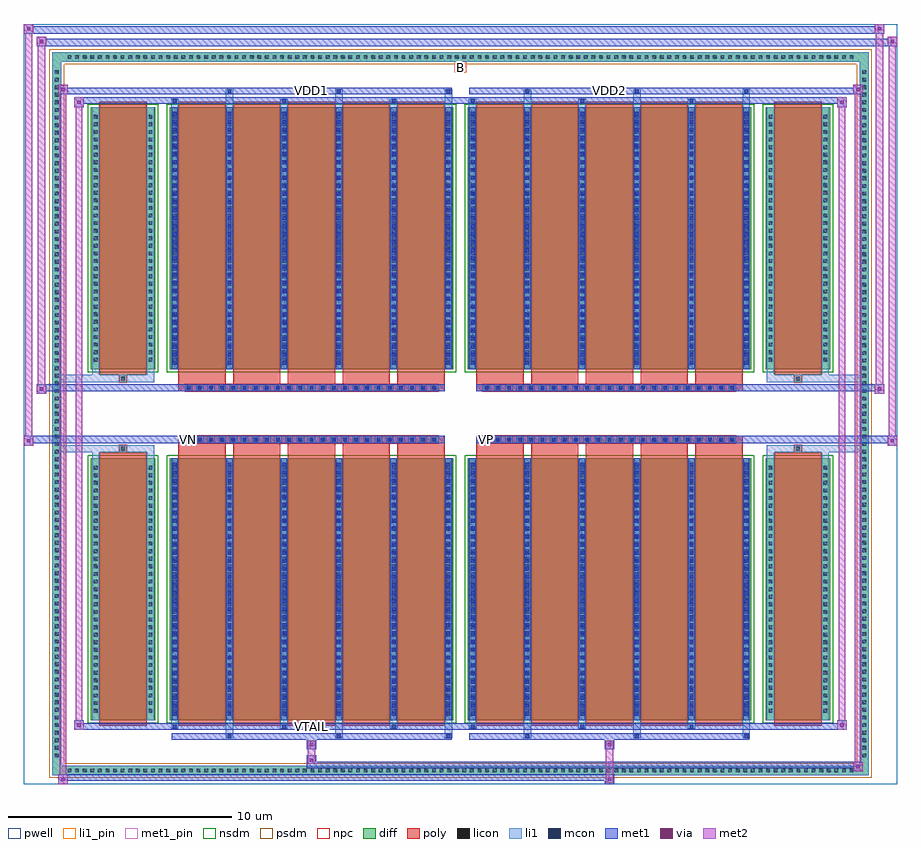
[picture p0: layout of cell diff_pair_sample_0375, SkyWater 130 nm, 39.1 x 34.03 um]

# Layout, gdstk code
import gdstk
lib = gdstk.Library(unit=1e-6, precision=5e-09)
def R(c, l, rs):  # rectangles x0, y0, x1, y1
    for r in rs: c.add(gdstk.rectangle(r[:2], r[2:], *l))
def A(c, l, x, y, w, h, nx, ny, dx, dy):  # array of equal rectangles
    R(c, l, [(x+i*dx, y+j*dy, x+i*dx+w, y+j*dy+h) for i in range(nx) for j in range(ny)])
def P(c, l, *ps):  # polygons
    for p in ps: c.add(gdstk.Polygon(p, *l))
pwell = (64, 44)
diff = (65, 20)
poly = (66, 20)
licon = (66, 44)
li1_pin = (67, 16)
li1 = (67, 20)
mcon = (67, 44)
met1_pin = (68, 16)
met1 = (68, 20)
via = (68, 44)
met2 = (69, 20)
nsdm = (93, 44)
psdm = (94, 20)
npc = (95, 20)

diff_pair_sample_0375 = lib.new_cell('diff_pair_sample_0375')
R(diff_pair_sample_0375, pwell, [(-19.55,-16.58,19.55,17.45), (-16.87,-14.77,-0.01,-0.795), (0.01,-14.77,16.87,-0.795), (-16.87,0.795,-0.01,14.77), (0.01,0.795,16.87,14.77)])
A(diff_pair_sample_0375, diff, -17.715, -16.18, 0.41, 0.41, 104, 2, 0.34, 31.95)
A(diff_pair_sample_0375, diff, -18.28, -15.505, 0.41, 0.41, 1, 91, 0, 0.34)
A(diff_pair_sample_0375, diff, 17.87, -15.505, 0.41, 0.41, 1, 91, 0, 0.34)
R(diff_pair_sample_0375, diff, [(-17.715,-16.18,17.715,-15.77), (-18.28,-15.505,-17.87,15.505), (17.87,-15.505,18.28,15.505), (-16.56,-13.725,-13.66,-1.985), (-13.02,-13.725,-0.32,-1.985), (0.32,-13.725,13.02,-1.985), (13.66,-13.725,16.56,-1.985), (-16.56,1.985,-13.66,13.725), (-13.02,1.985,-0.32,13.725), (0.32,1.985,13.02,13.725), (13.66,1.985,16.56,13.725), (-17.715,15.77,17.715,16.18)])
P(diff_pair_sample_0375, diff, [(18.28,16.18),(-18.28,16.18),(-18.28,-15.77),(-17.87,-15.77),(-17.87,15.77),(17.87,15.77),(17.87,-15.77),(-17.87,-15.77),(-18.28,-15.77),(-18.28,-16.18),(18.28,-16.18)])
A(diff_pair_sample_0375, poly, -12.63, -13.975, 2.12, 12.24, 5, 2, 2.45, 15.71)
A(diff_pair_sample_0375, poly, 0.71, -13.975, 2.12, 12.24, 5, 2, 2.45, 15.71)
A(diff_pair_sample_0375, poly, -12.63, -1.735, 2.12, 0.41, 5, 2, 2.45, 3.06)
A(diff_pair_sample_0375, poly, 0.71, -1.735, 2.12, 0.41, 5, 2, 2.45, 3.06)
A(diff_pair_sample_0375, poly, -12.335, -1.325, 0.33, 0.33, 23, 2, 0.5, 2.32)
A(diff_pair_sample_0375, poly, 1.005, -1.325, 0.33, 0.33, 23, 2, 0.5, 2.32)
R(diff_pair_sample_0375, poly, [(-16.17,-13.975,-14.05,-1.735), (14.05,-13.975,16.17,-1.735), (-15.275,-1.735,-14.945,-1.405), (-15.275,-1.735,-14.945,-1.405), (14.945,-1.735,15.275,-1.405), (14.945,-1.735,15.275,-1.405), (-12.63,-1.325,-0.71,-0.995), (0.71,-1.325,12.63,-0.995), (-12.63,0.995,-0.71,1.325), (0.71,0.995,12.63,1.325), (-15.275,1.405,-14.945,1.735), (-15.275,1.405,-14.945,1.735), (14.945,1.405,15.275,1.735), (14.945,1.405,15.275,1.735), (-16.17,1.735,-14.05,13.975), (14.05,1.735,16.17,13.975)])
A(diff_pair_sample_0375, licon, -17.595, -16.06, 0.17, 0.17, 104, 2, 0.34, 31.95)
A(diff_pair_sample_0375, licon, -18.16, -15.385, 0.17, 0.17, 1, 91, 0, 0.34)
A(diff_pair_sample_0375, licon, 17.99, -15.385, 0.17, 0.17, 1, 91, 0, 0.34)
A(diff_pair_sample_0375, licon, -16.42, -13.38, 0.17, 0.17, 1, 33, 0, 0.34)
A(diff_pair_sample_0375, licon, -13.97, -13.38, 0.17, 0.17, 1, 33, 0, 0.34)
A(diff_pair_sample_0375, licon, -12.88, -13.38, 0.17, 0.17, 6, 33, 2.45, 0.34)
A(diff_pair_sample_0375, licon, 0.46, -13.38, 0.17, 0.17, 6, 33, 2.45, 0.34)
A(diff_pair_sample_0375, licon, 13.8, -13.38, 0.17, 0.17, 1, 33, 0, 0.34)
A(diff_pair_sample_0375, licon, 16.25, -13.38, 0.17, 0.17, 1, 33, 0, 0.34)
A(diff_pair_sample_0375, licon, -12.255, -1.245, 0.17, 0.17, 23, 2, 0.5, 2.32)
A(diff_pair_sample_0375, licon, 1.085, -1.245, 0.17, 0.17, 23, 2, 0.5, 2.32)
A(diff_pair_sample_0375, licon, -16.42, 2.33, 0.17, 0.17, 1, 33, 0, 0.34)
A(diff_pair_sample_0375, licon, -13.97, 2.33, 0.17, 0.17, 1, 33, 0, 0.34)
A(diff_pair_sample_0375, licon, -12.88, 2.33, 0.17, 0.17, 6, 33, 2.45, 0.34)
A(diff_pair_sample_0375, licon, 0.46, 2.33, 0.17, 0.17, 6, 33, 2.45, 0.34)
A(diff_pair_sample_0375, licon, 13.8, 2.33, 0.17, 0.17, 1, 33, 0, 0.34)
A(diff_pair_sample_0375, licon, 16.25, 2.33, 0.17, 0.17, 1, 33, 0, 0.34)
R(diff_pair_sample_0375, licon, [(-15.195,-1.655,-15.025,-1.485), (15.025,-1.655,15.195,-1.485), (-15.195,1.485,-15.025,1.655), (15.025,1.485,15.195,1.655)])
R(diff_pair_sample_0375, li1_pin, [(-0.25,15.27,0.25,15.77)])
A(diff_pair_sample_0375, li1, -17.675, -16.14, 0.33, 0.33, 104, 2, 0.34, 31.95)
A(diff_pair_sample_0375, li1, -18.24, -15.465, 0.33, 0.33, 1, 91, 0, 0.34)
A(diff_pair_sample_0375, li1, 17.91, -15.465, 0.33, 0.33, 1, 91, 0, 0.34)
A(diff_pair_sample_0375, li1, -10.51, -14.53, 0.33, 0.805, 3, 2, 4.9, 28.255)
A(diff_pair_sample_0375, li1, -10.43, -14.53, 0.17, 0.17, 3, 2, 4.9, 28.89)
A(diff_pair_sample_0375, li1, 2.83, -14.53, 0.33, 0.805, 3, 2, 4.9, 28.255)
A(diff_pair_sample_0375, li1, 2.91, -14.53, 0.17, 0.17, 3, 2, 4.9, 28.89)
A(diff_pair_sample_0375, li1, -12.96, -14.1, 0.33, 0.375, 3, 2, 4.9, 27.825)
A(diff_pair_sample_0375, li1, -12.88, -14.1, 0.17, 0.17, 3, 2, 4.9, 28.03)
A(diff_pair_sample_0375, li1, 0.38, -14.1, 0.33, 0.375, 3, 2, 4.9, 27.825)
A(diff_pair_sample_0375, li1, 0.46, -14.1, 0.17, 0.17, 3, 2, 4.9, 28.03)
A(diff_pair_sample_0375, li1, -12.96, -13.725, 0.33, 11.74, 6, 2, 2.45, 15.71)
A(diff_pair_sample_0375, li1, 0.38, -13.725, 0.33, 11.74, 6, 2, 2.45, 15.71)
A(diff_pair_sample_0375, li1, -12.88, -13.52, 0.17, 0.17, 6, 32, 2.45, 0.36)
A(diff_pair_sample_0375, li1, -12.88, -13.52, 0.17, 11.33, 6, 2, 2.45, 15.71)
A(diff_pair_sample_0375, li1, 0.46, -13.52, 0.17, 0.17, 6, 32, 2.45, 0.36)
A(diff_pair_sample_0375, li1, 0.46, -13.52, 0.17, 11.33, 6, 2, 2.45, 15.71)
A(diff_pair_sample_0375, li1, -16.5, -13.46, 0.33, 0.33, 1, 33, 0, 0.34)
A(diff_pair_sample_0375, li1, -14.05, -13.46, 0.33, 0.33, 1, 33, 0, 0.34)
A(diff_pair_sample_0375, li1, -12.96, -13.46, 0.33, 0.33, 6, 33, 2.45, 0.34)
A(diff_pair_sample_0375, li1, 0.38, -13.46, 0.33, 0.33, 6, 33, 2.45, 0.34)
A(diff_pair_sample_0375, li1, 13.72, -13.46, 0.33, 0.33, 1, 33, 0, 0.34)
A(diff_pair_sample_0375, li1, 16.17, -13.46, 0.33, 0.33, 1, 33, 0, 0.34)
A(diff_pair_sample_0375, li1, -12.335, -1.325, 0.33, 0.33, 23, 2, 0.5, 2.32)
A(diff_pair_sample_0375, li1, 1.005, -1.325, 0.33, 0.33, 23, 2, 0.5, 2.32)
A(diff_pair_sample_0375, li1, -12.88, 2.19, 0.17, 0.17, 6, 32, 2.45, 0.36)
A(diff_pair_sample_0375, li1, 0.46, 2.19, 0.17, 0.17, 6, 32, 2.45, 0.36)
A(diff_pair_sample_0375, li1, -16.5, 2.25, 0.33, 0.33, 1, 33, 0, 0.34)
A(diff_pair_sample_0375, li1, -14.05, 2.25, 0.33, 0.33, 1, 33, 0, 0.34)
A(diff_pair_sample_0375, li1, -12.96, 2.25, 0.33, 0.33, 6, 33, 2.45, 0.34)
A(diff_pair_sample_0375, li1, 0.38, 2.25, 0.33, 0.33, 6, 33, 2.45, 0.34)
A(diff_pair_sample_0375, li1, 13.72, 2.25, 0.33, 0.33, 1, 33, 0, 0.34)
A(diff_pair_sample_0375, li1, 16.17, 2.25, 0.33, 0.33, 1, 33, 0, 0.34)
R(diff_pair_sample_0375, li1, [(-18.28,-16.18,-17.87,-15.77), (-18.28,-16.18,-17.87,-15.77), (-17.87,-16.18,17.87,-15.77), (17.87,-16.18,18.28,-15.77), (17.87,-16.18,18.28,-15.77), (-18.28,-15.77,-17.87,15.77), (17.87,-15.77,18.28,15.77), (-16.5,-13.725,-16.17,-1.985), (-14.05,-13.725,-13.72,-1.985), (13.72,-13.725,14.05,-1.985), (16.17,-13.725,16.5,-1.985), (-16.5,-1.985,-16.17,-1.405), (-14.05,-1.985,-13.72,-1.405), (13.72,-1.985,14.05,-1.405), (16.17,-1.985,16.5,-1.405), (-18.28,-1.735,-15.275,-1.405), (-16.5,-1.735,-15.275,-1.405), (-15.275,-1.735,-14.945,-1.405), (-14.945,-1.735,-13.72,-1.405), (13.72,-1.735,14.945,-1.405), (14.945,-1.735,15.275,-1.405), (14.945,-1.735,18.28,-1.405), (15.275,-1.735,16.5,-1.405), (-18.28,1.405,-15.275,1.735), (-16.5,1.405,-15.275,1.735), (-16.5,1.405,-16.17,1.985), (-15.275,1.405,-14.945,1.735), (-14.945,1.405,-13.72,1.735), (-14.05,1.405,-13.72,1.985), (13.72,1.405,14.945,1.735), (13.72,1.405,14.05,1.985), (14.945,1.405,15.275,1.735), (14.945,1.405,18.28,1.735), (15.275,1.405,16.5,1.735), (16.17,1.405,16.5,1.985), (-16.5,1.985,-16.17,13.725), (-14.05,1.985,-13.72,13.725), (13.72,1.985,14.05,13.725), (16.17,1.985,16.5,13.725), (-18.28,15.77,-17.87,16.18), (-18.28,15.77,-17.87,16.18), (-17.87,15.77,17.87,16.18), (17.87,15.77,18.28,16.18), (17.87,15.77,18.28,16.18)])
A(diff_pair_sample_0375, mcon, -10.43, -14.53, 0.17, 0.17, 3, 2, 4.9, 28.89)
A(diff_pair_sample_0375, mcon, 2.91, -14.53, 0.17, 0.17, 3, 2, 4.9, 28.89)
A(diff_pair_sample_0375, mcon, -12.88, -14.1, 0.17, 0.17, 3, 2, 4.9, 28.03)
A(diff_pair_sample_0375, mcon, 0.46, -14.1, 0.17, 0.17, 3, 2, 4.9, 28.03)
A(diff_pair_sample_0375, mcon, -12.88, -13.52, 0.17, 0.17, 6, 32, 2.45, 0.36)
A(diff_pair_sample_0375, mcon, 0.46, -13.52, 0.17, 0.17, 6, 32, 2.45, 0.36)
A(diff_pair_sample_0375, mcon, -12.255, -1.245, 0.17, 0.17, 23, 2, 0.5, 2.32)
A(diff_pair_sample_0375, mcon, 1.085, -1.245, 0.17, 0.17, 23, 2, 0.5, 2.32)
A(diff_pair_sample_0375, mcon, -12.88, 2.19, 0.17, 0.17, 6, 32, 2.45, 0.36)
A(diff_pair_sample_0375, mcon, 0.46, 2.19, 0.17, 0.17, 6, 32, 2.45, 0.36)
R(diff_pair_sample_0375, met1_pin, [(-6.805,-14.14,-6.535,-13.87), (-12.305,-1.285,-12.035,-1.015), (1.035,-1.285,1.305,-1.015), (-6.805,14.32,-6.535,14.59), (6.535,14.32,6.805,14.59)])
A(diff_pair_sample_0375, met1, -10.49, -14.59, 0.29, 0.29, 3, 2, 4.9, 28.89)
A(diff_pair_sample_0375, met1, 2.85, -14.59, 0.29, 0.29, 3, 2, 4.9, 28.89)
A(diff_pair_sample_0375, met1, -12.94, -14.16, 0.29, 0.29, 3, 2, 4.9, 28.03)
A(diff_pair_sample_0375, met1, 0.4, -14.16, 0.29, 0.29, 3, 2, 4.9, 28.03)
A(diff_pair_sample_0375, met1, -12.94, -13.725, 0.29, 11.74, 6, 2, 2.45, 15.71)
A(diff_pair_sample_0375, met1, 0.4, -13.725, 0.29, 11.74, 6, 2, 2.45, 15.71)
A(diff_pair_sample_0375, met1, -12.94, -13.58, 0.29, 0.29, 6, 32, 2.45, 0.36)
A(diff_pair_sample_0375, met1, 0.4, -13.58, 0.29, 0.29, 6, 32, 2.45, 0.36)
A(diff_pair_sample_0375, met1, -12.315, -1.305, 0.29, 0.29, 23, 2, 0.5, 2.32)
A(diff_pair_sample_0375, met1, 1.025, -1.305, 0.29, 0.29, 23, 2, 0.5, 2.32)
A(diff_pair_sample_0375, met1, -12.94, 2.13, 0.29, 0.29, 6, 32, 2.45, 0.36)
A(diff_pair_sample_0375, met1, 0.4, 2.13, 0.29, 0.29, 6, 32, 2.45, 0.36)
R(diff_pair_sample_0375, met1, [(-18.01,-16.58,-17.58,-16.15), (6.455,-16.58,6.885,-16.15), (-18.01,-16.44,6.885,-16.15), (17.58,-16.01,18.01,-15.58), (-6.885,-15.87,18.01,-15.58), (-6.885,-15.73,-6.455,-15.3), (-6.885,-15.02,-6.455,-14.59), (6.455,-15.02,6.885,-14.59), (-12.94,-14.59,-0.4,-14.3), (0.4,-14.59,12.94,-14.3), (-17.3,-14.16,-16.87,-13.73), (-17.3,-14.16,-12.94,-13.87), (-12.94,-14.16,-0.4,-13.87), (-0.4,-14.16,0.4,-13.87), (0.4,-14.16,12.94,-13.87), (12.94,-14.16,17.3,-13.87), (16.87,-14.16,17.3,-13.73), (-19.55,-1.425,-19.12,-0.995), (19.12,-1.425,19.55,-0.995), (-19.55,-1.325,-0.71,-0.995), (-12.63,-1.325,-0.71,-0.995), (0.71,-1.325,12.63,-0.995), (0.71,-1.325,19.55,-0.995), (-18.98,0.895,-18.55,1.325), (18.55,0.895,18.98,1.325), (-18.98,0.995,-12.63,1.325), (-12.63,0.995,-0.71,1.325), (0.71,0.995,12.63,1.325), (12.63,0.995,18.98,1.325), (-17.3,13.73,-16.87,14.16), (16.87,13.73,17.3,14.16), (-17.3,13.87,-12.94,14.16), (-12.94,13.87,-0.4,14.16), (-0.4,13.87,0.4,14.16), (0.4,13.87,12.94,14.16), (12.94,13.87,17.3,14.16), (-18.01,14.3,-17.58,14.73), (-18.01,14.3,-12.94,14.59), (-12.94,14.3,-0.4,14.59), (0.4,14.3,12.94,14.59), (12.94,14.3,18.01,14.59), (17.58,14.3,18.01,14.73), (-18.98,16.45,-18.55,16.88), (-18.98,16.45,-16.87,16.78), (-16.87,16.45,16.87,16.78), (16.87,16.45,19.55,16.78), (19.12,16.45,19.55,16.88), (-19.55,17.02,-19.12,17.45), (-19.55,17.02,-16.87,17.35), (-16.87,17.02,16.87,17.35), (16.87,17.02,18.98,17.35), (18.55,17.02,18.98,17.45)])
R(diff_pair_sample_0375, via, [(-17.87,-16.44,-17.72,-16.29), (6.595,-16.44,6.745,-16.29), (17.72,-15.87,17.87,-15.72), (-6.745,-15.59,-6.595,-15.44), (-6.745,-14.88,-6.595,-14.73), (6.595,-14.88,6.745,-14.73), (-17.16,-14.02,-17.01,-13.87), (17.01,-14.02,17.16,-13.87), (-19.41,-1.285,-19.26,-1.135), (19.26,-1.285,19.41,-1.135), (-18.84,1.035,-18.69,1.185), (18.69,1.035,18.84,1.185), (-17.16,13.87,-17.01,14.02), (17.01,13.87,17.16,14.02), (-17.87,14.44,-17.72,14.59), (17.72,14.44,17.87,14.59), (-18.84,16.59,-18.69,16.74), (19.26,16.59,19.41,16.74), (-19.41,17.16,-19.26,17.31), (18.69,17.16,18.84,17.31)])
R(diff_pair_sample_0375, met2, [(-18.01,-16.58,-17.58,-16.15), (-17.94,-16.58,-17.65,14.73), (-17.65,-16.58,-17.58,-16.15), (-17.96,-16.53,-17.63,-16.2), (6.505,-16.53,6.835,-16.2), (6.505,-16.2,6.835,-14.97), (17.58,-16.01,18.01,-15.58), (17.65,-16.01,17.94,14.73), (17.94,-16.01,18.01,-15.58), (17.63,-15.96,17.96,-15.63), (-6.835,-15.68,-6.505,-15.35), (-6.835,-15.35,-6.505,-14.97), (-6.835,-14.97,-6.505,-14.64), (6.505,-14.97,6.835,-14.64), (-17.3,-14.16,-16.87,-13.73), (-17.23,-14.16,-16.94,14.16), (-16.94,-14.16,-16.87,-13.73), (16.87,-14.16,17.3,-13.73), (16.94,-14.16,17.23,14.16), (17.23,-14.16,17.3,-13.73), (-17.25,-14.11,-16.92,-13.78), (16.92,-14.11,17.25,-13.78), (-19.55,-1.425,-19.12,-0.995), (-19.5,-1.425,-19.17,17.45), (-19.17,-1.425,-19.12,-0.995), (19.12,-1.425,19.55,-0.995), (19.17,-1.425,19.5,16.88), (19.5,-1.425,19.55,-0.995), (-19.5,-1.375,-19.17,-1.045), (19.17,-1.375,19.5,-1.045), (-18.98,0.895,-18.55,1.325), (-18.93,0.895,-18.6,16.88), (-18.6,0.895,-18.55,1.325), (18.55,0.895,18.98,1.325), (18.6,0.895,18.93,17.45), (18.93,0.895,18.98,1.325), (-18.93,0.945,-18.6,1.275), (18.6,0.945,18.93,1.275), (-17.3,13.73,-16.87,14.16), (-16.94,13.73,-16.87,14.16), (16.87,13.73,17.3,14.16), (17.23,13.73,17.3,14.16), (-17.25,13.78,-16.92,14.11), (16.92,13.78,17.25,14.11), (-18.01,14.3,-17.58,14.73), (-17.65,14.3,-17.58,14.73), (17.58,14.3,18.01,14.73), (17.94,14.3,18.01,14.73), (-17.96,14.35,-17.63,14.68), (17.63,14.35,17.96,14.68), (-18.98,16.45,-18.55,16.88), (-18.6,16.45,-18.55,16.88), (19.12,16.45,19.55,16.88), (19.5,16.45,19.55,16.88), (-18.93,16.5,-18.6,16.83), (19.17,16.5,19.5,16.83), (-19.55,17.02,-19.12,17.45), (-19.17,17.02,-19.12,17.45), (18.55,17.02,18.98,17.45), (18.93,17.02,18.98,17.45), (-19.5,17.07,-19.17,17.4), (18.6,17.07,18.93,17.4)])
R(diff_pair_sample_0375, nsdm, [(-16.69,-13.855,-13.53,-1.855), (-13.15,-13.855,-0.19,-1.855), (0.19,-13.855,13.15,-1.855), (13.53,-13.855,16.69,-1.855), (-16.69,1.855,-13.53,13.855), (-13.15,1.855,-0.19,13.855), (0.19,1.855,13.15,13.855), (13.53,1.855,16.69,13.855)])
P(diff_pair_sample_0375, psdm, [(18.41,16.31),(-18.41,16.31),(-18.41,-15.64),(-17.74,-15.64),(-17.74,15.64),(17.74,15.64),(17.74,-15.64),(-17.74,-15.64),(-18.41,-15.64),(-18.41,-16.31),(18.41,-16.31)])
A(diff_pair_sample_0375, npc, -12.355, -1.345, 0.37, 0.37, 23, 2, 0.5, 2.32)
A(diff_pair_sample_0375, npc, 0.985, -1.345, 0.37, 0.37, 23, 2, 0.5, 2.32)
R(diff_pair_sample_0375, npc, [(-15.295,-1.755,-14.925,-1.385), (14.925,-1.755,15.295,-1.385), (-12.355,-1.345,-11.485,-0.975), (-12.355,-1.345,-11.485,-0.975), (-11.855,-1.345,-10.985,-0.975), (-11.855,-1.345,-10.985,-0.975), (-11.355,-1.345,-10.485,-0.975), (-11.355,-1.345,-10.485,-0.975), (-10.855,-1.345,-9.985,-0.975), (-10.855,-1.345,-9.985,-0.975), (-10.355,-1.345,-9.485,-0.975), (-10.355,-1.345,-9.485,-0.975), (-9.855,-1.345,-8.985,-0.975), (-9.855,-1.345,-8.985,-0.975), (-9.355,-1.345,-8.485,-0.975), (-9.355,-1.345,-8.485,-0.975), (-8.855,-1.345,-7.985,-0.975), (-8.855,-1.345,-7.985,-0.975), (-8.355,-1.345,-7.485,-0.975), (-8.355,-1.345,-7.485,-0.975), (-7.855,-1.345,-6.985,-0.975), (-7.855,-1.345,-6.985,-0.975), (-7.355,-1.345,-6.485,-0.975), (-7.355,-1.345,-6.485,-0.975), (-6.855,-1.345,-5.985,-0.975), (-6.855,-1.345,-5.985,-0.975), (-6.355,-1.345,-5.485,-0.975), (-6.355,-1.345,-5.485,-0.975), (-5.855,-1.345,-4.985,-0.975), (-5.855,-1.345,-4.985,-0.975), (-5.355,-1.345,-4.485,-0.975), (-5.355,-1.345,-4.485,-0.975), (-4.855,-1.345,-3.985,-0.975), (-4.855,-1.345,-3.985,-0.975), (-4.355,-1.345,-3.485,-0.975), (-4.355,-1.345,-3.485,-0.975), (-3.855,-1.345,-2.985,-0.975), (-3.855,-1.345,-2.985,-0.975), (-3.355,-1.345,-2.485,-0.975), (-3.355,-1.345,-2.485,-0.975), (-2.855,-1.345,-1.985,-0.975), (-2.855,-1.345,-1.985,-0.975), (-2.355,-1.345,-1.485,-0.975), (-2.355,-1.345,-1.485,-0.975), (-1.855,-1.345,-0.985,-0.975), (-1.855,-1.345,-0.985,-0.975), (0.985,-1.345,1.855,-0.975), (0.985,-1.345,1.855,-0.975), (1.485,-1.345,2.355,-0.975), (1.485,-1.345,2.355,-0.975), (1.985,-1.345,2.855,-0.975), (1.985,-1.345,2.855,-0.975), (2.485,-1.345,3.355,-0.975), (2.485,-1.345,3.355,-0.975), (2.985,-1.345,3.855,-0.975), (2.985,-1.345,3.855,-0.975), (3.485,-1.345,4.355,-0.975), (3.485,-1.345,4.355,-0.975), (3.985,-1.345,4.855,-0.975), (3.985,-1.345,4.855,-0.975), (4.485,-1.345,5.355,-0.975), (4.485,-1.345,5.355,-0.975), (4.985,-1.345,5.855,-0.975), (4.985,-1.345,5.855,-0.975), (5.485,-1.345,6.355,-0.975), (5.485,-1.345,6.355,-0.975), (5.985,-1.345,6.855,-0.975), (5.985,-1.345,6.855,-0.975), (6.485,-1.345,7.355,-0.975), (6.485,-1.345,7.355,-0.975), (6.985,-1.345,7.855,-0.975), (6.985,-1.345,7.855,-0.975), (7.485,-1.345,8.355,-0.975), (7.485,-1.345,8.355,-0.975), (7.985,-1.345,8.855,-0.975), (7.985,-1.345,8.855,-0.975), (8.485,-1.345,9.355,-0.975), (8.485,-1.345,9.355,-0.975), (8.985,-1.345,9.855,-0.975), (8.985,-1.345,9.855,-0.975), (9.485,-1.345,10.355,-0.975), (9.485,-1.345,10.355,-0.975), (9.985,-1.345,10.855,-0.975), (9.985,-1.345,10.855,-0.975), (10.485,-1.345,11.355,-0.975), (10.485,-1.345,11.355,-0.975), (10.985,-1.345,11.855,-0.975), (10.985,-1.345,11.855,-0.975), (11.485,-1.345,12.355,-0.975), (11.485,-1.345,12.355,-0.975), (-12.355,0.975,-11.485,1.345), (-12.355,0.975,-11.485,1.345), (-11.855,0.975,-10.985,1.345), (-11.855,0.975,-10.985,1.345), (-11.355,0.975,-10.485,1.345), (-11.355,0.975,-10.485,1.345), (-10.855,0.975,-9.985,1.345), (-10.855,0.975,-9.985,1.345), (-10.355,0.975,-9.485,1.345), (-10.355,0.975,-9.485,1.345), (-9.855,0.975,-8.985,1.345), (-9.855,0.975,-8.985,1.345), (-9.355,0.975,-8.485,1.345), (-9.355,0.975,-8.485,1.345), (-8.855,0.975,-7.985,1.345), (-8.855,0.975,-7.985,1.345), (-8.355,0.975,-7.485,1.345), (-8.355,0.975,-7.485,1.345), (-7.855,0.975,-6.985,1.345), (-7.855,0.975,-6.985,1.345), (-7.355,0.975,-6.485,1.345), (-7.355,0.975,-6.485,1.345), (-6.855,0.975,-5.985,1.345), (-6.855,0.975,-5.985,1.345), (-6.355,0.975,-5.485,1.345), (-6.355,0.975,-5.485,1.345), (-5.855,0.975,-4.985,1.345), (-5.855,0.975,-4.985,1.345), (-5.355,0.975,-4.485,1.345), (-5.355,0.975,-4.485,1.345), (-4.855,0.975,-3.985,1.345), (-4.855,0.975,-3.985,1.345), (-4.355,0.975,-3.485,1.345), (-4.355,0.975,-3.485,1.345), (-3.855,0.975,-2.985,1.345), (-3.855,0.975,-2.985,1.345), (-3.355,0.975,-2.485,1.345), (-3.355,0.975,-2.485,1.345), (-2.855,0.975,-1.985,1.345), (-2.855,0.975,-1.985,1.345), (-2.355,0.975,-1.485,1.345), (-2.355,0.975,-1.485,1.345), (-1.855,0.975,-0.985,1.345), (-1.855,0.975,-0.985,1.345), (0.985,0.975,1.855,1.345), (0.985,0.975,1.855,1.345), (1.485,0.975,2.355,1.345), (1.485,0.975,2.355,1.345), (1.985,0.975,2.855,1.345), (1.985,0.975,2.855,1.345), (2.485,0.975,3.355,1.345), (2.485,0.975,3.355,1.345), (2.985,0.975,3.855,1.345), (2.985,0.975,3.855,1.345), (3.485,0.975,4.355,1.345), (3.485,0.975,4.355,1.345), (3.985,0.975,4.855,1.345), (3.985,0.975,4.855,1.345), (4.485,0.975,5.355,1.345), (4.485,0.975,5.355,1.345), (4.985,0.975,5.855,1.345), (4.985,0.975,5.855,1.345), (5.485,0.975,6.355,1.345), (5.485,0.975,6.355,1.345), (5.985,0.975,6.855,1.345), (5.985,0.975,6.855,1.345), (6.485,0.975,7.355,1.345), (6.485,0.975,7.355,1.345), (6.985,0.975,7.855,1.345), (6.985,0.975,7.855,1.345), (7.485,0.975,8.355,1.345), (7.485,0.975,8.355,1.345), (7.985,0.975,8.855,1.345), (7.985,0.975,8.855,1.345), (8.485,0.975,9.355,1.345), (8.485,0.975,9.355,1.345), (8.985,0.975,9.855,1.345), (8.985,0.975,9.855,1.345), (9.485,0.975,10.355,1.345), (9.485,0.975,10.355,1.345), (9.985,0.975,10.855,1.345), (9.985,0.975,10.855,1.345), (10.485,0.975,11.355,1.345), (10.485,0.975,11.355,1.345), (10.985,0.975,11.855,1.345), (10.985,0.975,11.855,1.345), (11.485,0.975,12.355,1.345), (11.485,0.975,12.355,1.345), (-15.295,1.385,-14.925,1.755), (14.925,1.385,15.295,1.755)])
diff_pair_sample_0375.add(gdstk.Label('VTAIL', (-6.67,-14.005), layer=68, texttype=5))
diff_pair_sample_0375.add(gdstk.Label('VN', (-12.17,-1.15), layer=68, texttype=5))
diff_pair_sample_0375.add(gdstk.Label('VP', (1.17,-1.15), layer=68, texttype=5))
diff_pair_sample_0375.add(gdstk.Label('B', (0,15.52), layer=67, texttype=5))
diff_pair_sample_0375.add(gdstk.Label('VDD2', (6.67,14.455), layer=68, texttype=5))
diff_pair_sample_0375.add(gdstk.Label('VDD1', (-6.67,14.455), layer=68, texttype=5))

lib.write_gds('diff_pair_sample_0375.gds')
